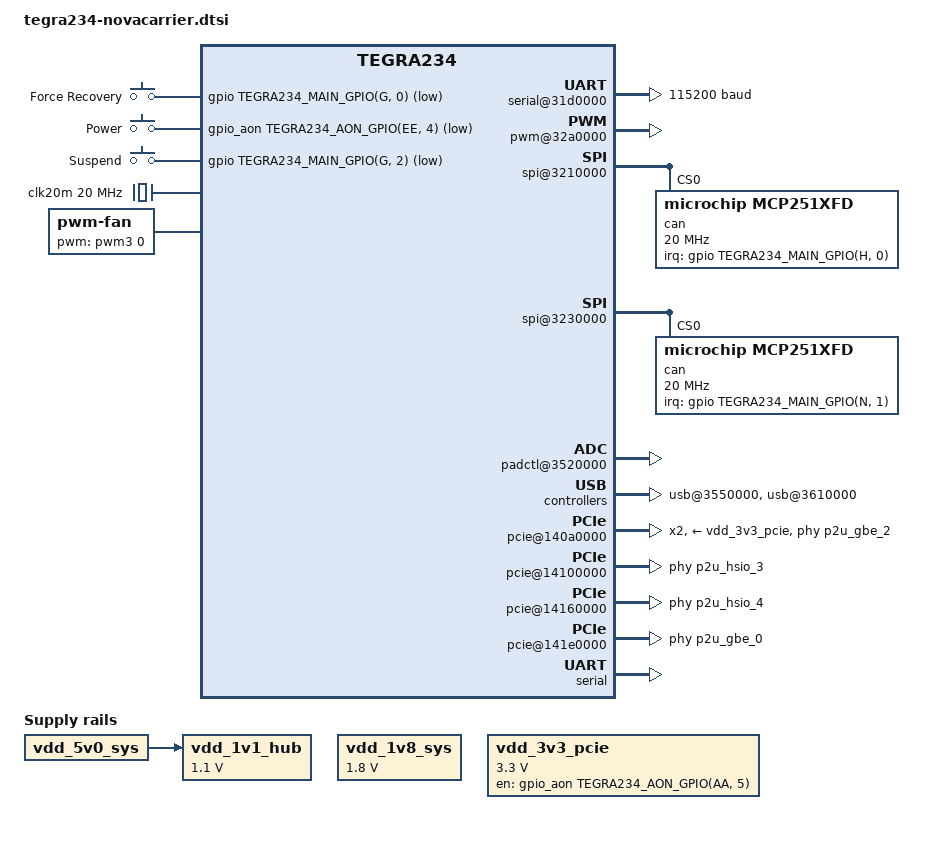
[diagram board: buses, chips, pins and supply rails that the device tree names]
// SPDX-License-Identifier: GPL-2.0

/ {
	compatible = "nvidia,p3768-0000";

	aliases {
		serial0 = &tcu;
	};

	chosen {
		stdout-path = "serial0:115200n8";
	};

	bus@0 {
		serial@31d0000 {
			current-speed = <115200>;
			status = "okay";
		};

		pwm@32a0000 {
			assigned-clocks = <&bpmp TEGRA234_CLK_PWM3>;
			assigned-clock-parents = <&bpmp TEGRA234_CLK_PLLP_OUT0>;
			status = "okay";
		};

        spi@3210000{ /* SPI0 */
			status = "okay";
            can@0 {
                compatible = "microchip,mcp251xfd";
                reg = <0x0>;
                // interrupt-parent = <&gpio>; // Use the GPIO controller
                // interrupts = <TEGRA234_MAIN_GPIO(H, 0) IRQ_TYPE_LEVEL_LOW>; // GPIO3_PZ.07 is SPI0_CS1 for MCP2518 interrupt
                // interrupts-extended = <&gpio TEGRA234_MAIN_GPIO(H, 0) IRQ_TYPE_LEVEL_LOW>;
				spi-max-frequency = <20000000>; // Set the max frequency to 20MHz
                clocks = <&clk20m>; // Use the 20MHz clock

				interrupt-parent = <&gpio>;
				interrupts = <TEGRA234_MAIN_GPIO(H, 0) IRQ_TYPE_LEVEL_LOW>;
				controller-data {
					nvidia,enable-hw-based-cs;
					nvidia,cs-setup-clk-count = <0x1e>;
					nvidia,cs-hold-clk-count = <0x1e>;
					nvidia,rx-clk-tap-delay = <0x1f>;
					nvidia,tx-clk-tap-delay = <0x0>;
				};
            };
        };


		/* SPI-CAN controller 2 */
		spi@3230000{
			status = "okay";
			can@0 {
				compatible = "microchip,mcp251xfd";
				reg = <0x0>;
				clocks = <&clk20m>;
				spi-max-frequency = <20000000>;
				// TODO: check this GPIO(N, 1) and GPIO(H, 0) maybe swapped
				// interrupts = <&gpio TEGRA234_MAIN_GPIO(N, 1) IRQ_TYPE_EDGE_FALLING>;
				
				// interrupts-extended = <&gpio TEGRA234_MAIN_GPIO(N, 1) IRQ_TYPE_LEVEL_LOW>;
				
				interrupt-parent = <&gpio>;
				interrupts = <TEGRA234_MAIN_GPIO(N, 1) IRQ_TYPE_LEVEL_LOW>;
				controller-data {
					nvidia,enable-hw-based-cs;
					nvidia,cs-setup-clk-count = <0x1e>;
					nvidia,cs-hold-clk-count = <0x1e>;
					nvidia,rx-clk-tap-delay = <0x1f>;
					nvidia,tx-clk-tap-delay = <0x0>;
				};
				
				// nvidia,enable-hw-based-cs;
			};
		};

		/* Configuring the pinmux Setting of I2C and DP1_AUX */
		miscreg-dpaux@00100000 {

                compatible = "nvidia,tegra194-misc-dpaux-padctl";
                reg = <0x0 0x00100000 0x0 0xf000>;
                dpaux_default: pinmux@0 {

                        dpaux0_pins {
                                pins = "dpaux-0";
                                function = "i2c";
                        };
                };
        };

        i2c@31b0000 {
                pinctrl-names = "default";
                pinctrl-0 = <&dpaux_default>;
        };

		padctl@3520000 {
			status = "okay";

			pads {
				usb2 {
					lanes {
						usb2-0 {
							nvidia,function = "xusb";
							status = "okay";
						};

						usb2-1 {
							nvidia,function = "xusb";
							status = "okay";
						};

						usb2-2 {
							nvidia,function = "xusb";
							status = "okay";
						};
					};
				};

				usb3 {
					lanes {
						usb3-0 {
							nvidia,function = "xusb";
							status = "okay";
						};

						usb3-1 {
							nvidia,function = "xusb";
							status = "okay";
						};
						
						usb3-2 {
							nvidia,function = "xusb";
							status = "okay";
						};
					};
				};
			};

			ports {
				/* recovery port + USB0 */
				usb2-0 {
					mode = "otg";
					status = "okay";
					vbus-supply = <&vdd_5v0_sys>;
					usb-role-switch;
					connector {
						compatible = "usb-b-connector", "gpio-usb-b-connector";
 						label = "micro-USB";
 						vbus-gpio = <&gpio TEGRA234_MAIN_GPIO(Z, 1) GPIO_ACTIVE_LOW>;
						id-gpio = <&gpio TEGRA234_MAIN_GPIO(Z, 7) GPIO_ACTIVE_LOW>;
 					};
				};

				/* USB1 */
				usb2-1 {
					mode = "host";
					vbus-supply = <&vdd_5v0_sys>;
					status = "okay";
				};

				/* USB2 */
				usb2-2 {
					mode = "host";
					vbus-supply = <&vdd_5v0_sys>;
					status = "okay";
				};

				/* USB0SS */
				usb3-0 {
					nvidia,usb2-companion = <0>;
					status = "okay";
				};

				/* USB1SS */
				usb3-1 {
					nvidia,usb2-companion = <1>;
					status = "okay";
				};
				
				/* USB2SS */
				usb3-2 {
					nvidia,usb2-companion = <2>;
					status = "okay";
				};
			};
		};

		usb@3550000 {
			status = "okay";
			phys = <&{/bus@0/padctl@3520000/pads/usb2/lanes/usb2-0}>;
			phy-names = "usb2-0";
		};

		usb@3610000 {
			status = "okay";

			phys = <&{/bus@0/padctl@3520000/pads/usb2/lanes/usb2-0}>,
			       <&{/bus@0/padctl@3520000/pads/usb2/lanes/usb2-1}>,
			       <&{/bus@0/padctl@3520000/pads/usb2/lanes/usb2-2}>,
			       <&{/bus@0/padctl@3520000/pads/usb3/lanes/usb3-0}>,
			       <&{/bus@0/padctl@3520000/pads/usb3/lanes/usb3-1}>,
			       <&{/bus@0/padctl@3520000/pads/usb3/lanes/usb3-2}>;
			phy-names = "usb2-0", "usb2-1", "usb2-2", "usb3-0",
				    "usb3-1", "usb3-2";
		};

		/* C8 - Ethernet */
		pcie@140a0000 {
			status = "okay";

			num-lanes = <2>;

			phys = <&p2u_gbe_2>, <&p2u_gbe_3>;
			phy-names = "p2u-0", "p2u-1";

			vddio-pex-ctl-supply = <&vdd_1v8_ao>;
			vpcie3v3-supply = <&vdd_3v3_pcie>;
		};

		/* C1 - M.2 Key-E */
		pcie@14100000 {
			status = "okay";

			vddio-pex-ctl-supply = <&vdd_1v8_ao>;

			phys = <&p2u_hsio_3>;
			phy-names = "p2u-0";
		};

		/* C4 - M.2 Key-M */
		pcie@14160000 {
			status = "okay";

			vddio-pex-ctl-supply = <&vdd_1v8_ao>;

			phys = <&p2u_hsio_4>, <&p2u_hsio_5>, <&p2u_hsio_6>,
			       <&p2u_hsio_7>;
			phy-names = "p2u-0", "p2u-1", "p2u-2", "p2u-3";
		};

		/* C7 - M.2 Key-M */
		pcie@141e0000 {
			status = "okay";

			vddio-pex-ctl-supply = <&vdd_1v8_ao>;

			phys = <&p2u_gbe_0>, <&p2u_gbe_1>;
			phy-names = "p2u-0", "p2u-1";
		};
	};

	gpio-keys {
		compatible = "gpio-keys";

		key-force-recovery {
			label = "Force Recovery";
			gpios = <&gpio TEGRA234_MAIN_GPIO(G, 0) GPIO_ACTIVE_LOW>;
			linux,input-type = <EV_KEY>;
			linux,code = <BTN_1>;
		};

		key-power {
			label = "Power";
			gpios = <&gpio_aon TEGRA234_AON_GPIO(EE, 4) GPIO_ACTIVE_LOW>;
			linux,input-type = <EV_KEY>;
			linux,code = <KEY_POWER>;
			wakeup-event-action = <EV_ACT_ASSERTED>;
			wakeup-source;
		};

		key-suspend {
			label = "Suspend";
			gpios = <&gpio TEGRA234_MAIN_GPIO(G, 2) GPIO_ACTIVE_LOW>;
			linux,input-type = <EV_KEY>;
			linux,code = <KEY_SLEEP>;
		};
	};

	clocks {
            // 20MHz external crystal oscillator
            clk20m: mcp251x_osc {
                compatible = "fixed-clock";
                #clock-cells = <0>;
                clock-frequency = <20000000>;
                clock-accuracy = <100>;
                clock-output-names = "mcp251x_clk20m";
            };
    };


	fan: pwm-fan {
		compatible = "pwm-fan";
		pwms = <&pwm3 0 45334>;
		#cooling-cells = <2>;
	};

	vdd_1v8_sys: regulator-vdd-1v8-sys {
		compatible = "regulator-fixed";
		regulator-name = "VDD_1V8_SYS";
		regulator-min-microvolt = <1800000>;
		regulator-max-microvolt = <1800000>;
		regulator-always-on;
	};

	vdd_1v1_hub: regulator-vdd-1v1-hub {
		compatible = "regulator-fixed";
		regulator-name = "VDD_AV10_HUB";
		regulator-min-microvolt = <1100000>;
		regulator-max-microvolt = <1100000>;
		vin-supply = <&vdd_5v0_sys>;
		regulator-always-on;
	};

	vdd_3v3_pcie: regulator-vdd-3v3-pcie {
		compatible = "regulator-fixed";
		regulator-name = "VDD_3V3_PCIE";
		regulator-min-microvolt = <3300000>;
		regulator-max-microvolt = <3300000>;
		gpio = <&gpio_aon TEGRA234_AON_GPIO(AA, 5) GPIO_ACTIVE_HIGH>;
		enable-active-high;
	};

	serial {
		status = "okay";
	};
};
